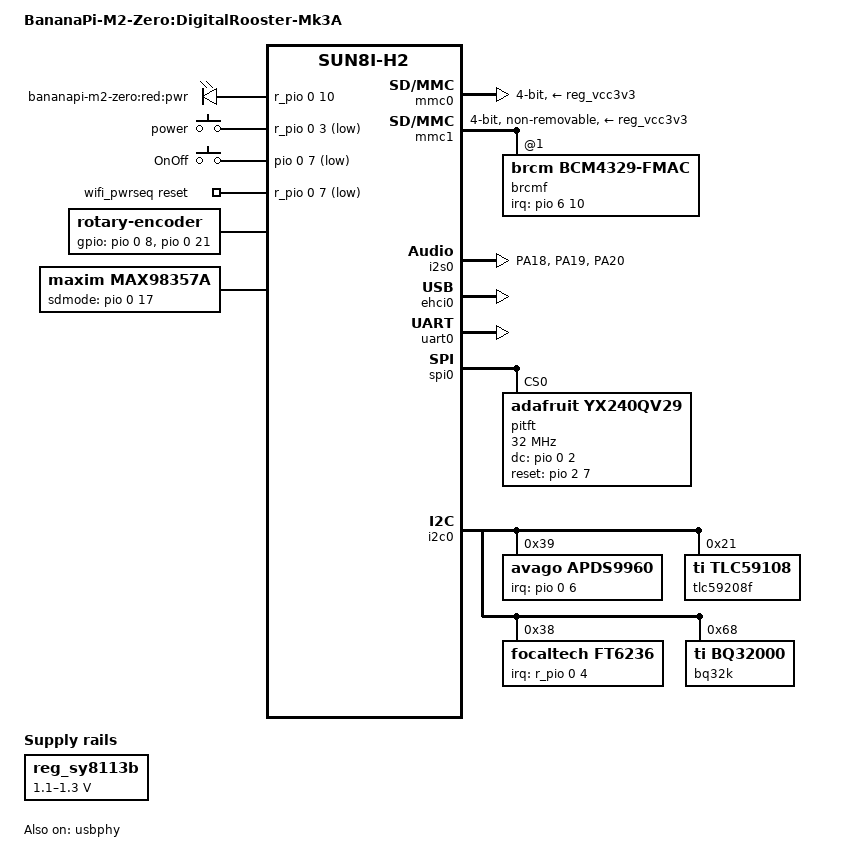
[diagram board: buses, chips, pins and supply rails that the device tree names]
/*
 * DigitalRooster on Banana Pi M2 Zero specific Device tree including
 *  - Rotary Enconder (volume)
 *  - 2.8" PiTFT Display (SPI Display Ilitek + I2C Touch Focaltech)
 *  - Adafruit Speakerbonnet (I2S Sound)
 *
 * Copyright (c) 2019 Thomas Ruschival <thomas@ruschival.de> based on
 * the original device tree sun8i-h2-plus-bananapi-m2-zero.dts
 * Copyright (C) 2017 Icenowy Zheng <icenowy@aosc.io>
 *
 * Based on sun8i-h3-bananapi-m2-plus.dts, which is:
 *   Copyright (C) 2016 Chen-Yu Tsai <wens@csie.org>
 *
 * This file is dual-licensed: you can use it either under the terms
 * of the GPL or the X11 license, at your option. Note that this dual
 * licensing only applies to this file, and not this project as a
 * whole.
 *
 *  a) This file is free software; you can redistribute it and/or
 *     modify it under the terms of the GNU General Public License as
 *     published by the Free Software Foundation; either version 2 of the
 *     License, or (at your option) any later version.
 *
 *     This file is distributed in the hope that it will be useful,
 *     but WITHOUT ANY WARRANTY; without even the implied warranty of
 *     MERCHANTABILITY or FITNESS FOR A PARTICULAR PURPOSE.  See the
 *     GNU General Public License for more details.
 *
 * Or, alternatively,
 *
 *  b) Permission is hereby granted, free of charge, to any person
 *     obtaining a copy of this software and associated documentation
 *     files (the "Software"), to deal in the Software without
 *     restriction, including without limitation the rights to use,
 *     copy, modify, merge, publish, distribute, sublicense, and/or
 *     sell copies of the Software, and to permit persons to whom the
 *     Software is furnished to do so, subject to the following
 *     conditions:
 *
 *     The above copyright notice and this permission notice shall be
 *     included in all copies or substantial portions of the Software.
 *
 *     THE SOFTWARE IS PROVIDED "AS IS", WITHOUT WARRANTY OF ANY KIND,
 *     EXPRESS OR IMPLIED, INCLUDING BUT NOT LIMITED TO THE WARRANTIES
 *     OF MERCHANTABILITY, FITNESS FOR A PARTICULAR PURPOSE AND
 *     NONINFRINGEMENT. IN NO EVENT SHALL THE AUTHORS OR COPYRIGHT
 *     HOLDERS BE LIABLE FOR ANY CLAIM, DAMAGES OR OTHER LIABILITY,
 *     WHETHER IN AN ACTION OF CONTRACT, TORT OR OTHERWISE, ARISING
 *     FROM, OUT OF OR IN CONNECTION WITH THE SOFTWARE OR THE USE OR
 *     OTHER DEALINGS IN THE SOFTWARE.
 */

/dts-v1/;
#include "sun8i-h3.dtsi"
#include "sunxi-common-regulators.dtsi"

#include <dt-bindings/gpio/gpio.h>
#include <dt-bindings/input/input.h>

/ {
	model = "BananaPi-M2-Zero:DigitalRooster-Mk3A";
	version= "2.0";
	compatible = "digitalrooster,3.0",
		     "sinovoip,bpi-m2-zero",
		     "allwinner,sun8i-h2-plus";

	aliases {
		serial0 = &uart0;
		serial1 = &uart1;
	};

	chosen {
		stdout-path = "serial0:115200n8";
	};

	leds {
		compatible = "gpio-leds";
		pinctrl-names = "default";

		pwr_led {
			label = "bananapi-m2-zero:red:pwr";
			gpios = <&r_pio 0 10 GPIO_ACTIVE_HIGH>; /* PL10 */
			default-state = "on";
		};
	};

	gpio_keys {
		compatible = "gpio-keys";
		pinctrl-names = "default";

		sw4 {
			label = "power";
			linux,code = <BTN_0>;
			gpios = <&r_pio 0 3 GPIO_ACTIVE_LOW>;
		};

		/* rotary push button event interface */
		OnOff {
			label = "OnOff";
			linux,code = <KEY_HOME>;
			/* PA7 Pin 29 OK */
			gpios = <&pio 0 7  GPIO_ACTIVE_LOW>;
		};

	};

	reg_sy8113b: gpio-regulator {
		compatible = "regulator-gpio";
		regulator-name = "vdd-cpux";
		regulator-type = "voltage";
		regulator-boot-on;
		regulator-always-on;
		regulator-min-microvolt = <1100000>;
		regulator-max-microvolt = <1300000>;
		regulator-ramp-delay = <50>; /* 4ms */

		gpios = <&r_pio 0 1 GPIO_ACTIVE_HIGH>; /* PL1 */
		enable-active-high;
		gpios-states = <0x1>;
		states = <1100000 0x0
			  1300000 0x1>;
	};

	wifi_pwrseq: wifi_pwrseq {
		compatible = "mmc-pwrseq-simple";
		pinctrl-names = "default";
		reset-gpios = <&r_pio 0 7 GPIO_ACTIVE_LOW>; /* PL7 */
	};

	/* Gray rotary encoder e.g. Grayhill 61C1 in relative mode */
	rotary: rotary@0 {
		compatible = "rotary-encoder";
		status = "okay";
		pinctrl-names = "default";
		pinctrl-0 = <&rotary_pins>;
		gpios = <&pio 0 8  GPIO_ACTIVE_HIGH>, /* PA8 */
			<&pio 0 21 GPIO_ACTIVE_HIGH>; /* PA21 */
		linux,axis = <0>;
		rotary-encoder,relative-axis;
		rotary-encoder,encoding = "gray";
		rotary-encoder,steps = <32>;
		rotary-encoder,steps-per-period = <1>;
	};

	/* MAX98357A Codec */
	max98357a: max98357a0 {
 		#sound-dai-cells = <0>;
 		compatible = "maxim,max98357a";
 		status = "okay";
		pinctrl-0 = <&shutdown_n>;
		sdmode-gpios = <&pio 0 17 GPIO_ACTIVE_HIGH>; /* PA17 SD_n */
		sdmode-delay = <5>; /* deassert shutdown after 5ms */
	};

	sound {
		compatible = "simple-audio-card";
		simple-audio-card,name = "digitalrooster-audio";
		simple-audio-card,format = "i2s";
		/* simple-audio-card,bitclock-master = <&dai>; */
		/* simple-audio-card,frame-master = <&dai_cpu>; */
		simple-audio-card,mclk-fs  = <256>;
		status = "okay";

		dai_cpu: simple-audio-card,cpu {
			sound-dai = <&i2s0>;
		};

		dai_codec: simple-audio-card,codec {
			sound-dai = <&max98357a>;
		};
	};
};

&mmc0 {
	pinctrl-names = "default";
	pinctrl-0 = <&mmc0_pins>;
	vmmc-supply = <&reg_vcc3v3>;
	bus-width = <4>;
	/*
	 * In different revisions the board have different card detect
	 * configuration.
	 */
	broken-cd;
	status = "okay";
};

&mmc1 {
	pinctrl-names = "default";
	pinctrl-0 = <&mmc1_pins>;
	vmmc-supply = <&reg_vcc3v3>;
	vqmmc-supply = <&reg_vcc3v3>;
	mmc-pwrseq = <&wifi_pwrseq>;
	bus-width = <4>;
	non-removable;
	status = "okay";

	brcmf: wifi@1 {
		reg = <1>;
		compatible = "brcm,bcm4329-fmac";
		interrupt-parent = <&pio>;
		interrupts = <6 10 IRQ_TYPE_LEVEL_LOW>; /* PG10 / EINT10 */
		interrupt-names = "host-wake";
	};
};

/* enable i2s controller */
&i2s0 {
	status = "okay";
	pinctrl-names = "default";
	pinctrl-0 = <&i2s0_pins>;
};

/* disable on-chip RTC */
&rtc {
	status = "disabled";
};

&ehci0 {
	status = "okay";
};

&uart0 {
	pinctrl-names = "default";
	pinctrl-0 = <&uart0_pa_pins>;
	status = "okay";
};

&usbphy {
	usb0_id_det-gpios = <&r_pio 0 6 GPIO_ACTIVE_HIGH>; /* PL6 */
	/* USB OTG VBUS is directly connected to 5V without any regulators */
	status = "okay";
};


&r_pio{
	/* Touch Controller Interrupt line */
	TouchInt {
		status = "ok";
		pins = "PL4";
		function = "gpio_in";
	};
};

&pio {
	gpio-line-names =
	"", "", "TFT_DC", "",                   /* PA0 - PA3 */
	"", "", "APDS_INT", "ROT_PB",           /* PA4 - PA7 */
	"ROT_B", "","","",                      /* PA8 - PA11 */
	"", "","","TFT_INT",                    /* PA12 - PA15 */
	"", "SD_n","I2S_LRCLK","I2S_BCLCK",     /* PA16 - PA19 */
	"I2S_DOUT", "ROT_A","","";              /* PA20 - PA23 */

	shutdown_n: shutdown_n {
		status = "ok";
		label = "shutdown_n";
		pins = "PA17";
		function = "gpio_out";
	};

	/* PA6 APDS 9960 interrupt line*/
	APDS_INT {
		status = "ok";
		pins = "PA6";
		function = "gpio_in"; /*TODO: Check function if IRQ exists */
	};

	/* PA7 (push button) of rotary encoder*/
	push_button {
		status = "ok";
		pins = "PA7";
		function = "gpio_in";
	};

	/* Rotary encoder pins A and B */
	rotary_pins: rotary_pins {
		pins = "PA8", "PA21";
		function = "gpio_in";
	};

	/* I2S interface for codec */
	i2s0_pins:  i2s0-pins {
		pins =
		"PA18",  /*I2S_LRCLK */
		"PA19",  /*I2S_BCLCK */
		"PA20";  /*I2S_DOUT  */
		/* "PA21" not used - we don't have audio input */
		function = "i2s0";
	};

	/* PiTFT GPIO pins */
        pitft_pins: pitft_pins {
		/* Touch IRQ Pin18 (PC4 has no IRQ) bridged to PL4 Pin36 */
		/* DC pin PA2, Pin22  */
		/* Reset line PC7 (Pin 26) */
		label = "pitft";
		pins  = "PC4", "PL4", "PC7" ,"PA2";
		function = "gpio_in", "gpio_in", "gpio_out", "gpio_out";
		allwinner,pull =  <
		2 /*PC4 pull-up */
		2 /*PL4 pull-up */
		0 /*PC7 none */
		0 /*PA2 none */ >;
        };
};

/* Display @ SPI0 */
&spi0 {
	status = "okay";

	/* TINY DRM on Adafruit 2.8" TFT */
        pitft: pitft@0{
		compatible ="adafruit,yx240qv29", "ilitek,ili9341";
		status = "okay";
		/* common for tinydrm and framebuffer */
                reg = <0>;
                spi-max-frequency = <32000000>;
	        rotation = <90>; /* Rotation for tinydrm driver */
		/* backlight = <&pwm_18_backlight>     /* backlight tinydrm driver */
                /* GPIO assignments for tinydrm driver */
                dc-gpios = <&pio 0 2 GPIO_ACTIVE_HIGH>;     /* PA2   */
                reset-gpios = <&pio 2 7  GPIO_ACTIVE_HIGH>; /* PC7, line 71 */
                /* Properties of Framebuffer driver */
		/* rotate = <270>; */
		/* fps = <25>; */
		/* bgr; */
		/* buswidth = <8>; */
		/* debug = <1>; */
		/* pinctrl-0 = <&pitft_pins>; */
        };
};

&i2c0 {
	status = "okay";

	/* APDS 9960 light, color, proximity sensor */
	apds9960: adps@39 {
		compatible = "avago,apds9960";
		reg = <0x39>;
		interrupt-parent = <&pio>;
		/* PA6 INT6 edge l->h triggered */
		interrupts = <0 6 IRQ_TYPE_EDGE_RISING>;
	};

	/* LED driver actually a TLC59208F but seems compatible */
	tlc59208f: tlc59208f@48 {
		compatible = "ti,tlc59108";
		reg = <0x21>; /* should be 0x42 */
		/* red */
		r@2 {
			label = "RGB:r";
			reg = <0x02>;
		};
		/* green */
		g@3 {
			label = "RGB:g";
			reg = <0x03>;
		};
		/* blue */
		b@4 {
			label = "RGB:b";
			reg = <0x04>;
		};
		/* amber */
		a@5 {
			label = "RGB:a";
			reg = <0x05>;
			/* linux,default-trigger = "activity"; */
		};
		/* backlight */
		bl@6{
			label = "bl";
			reg = <0x06>;
			/* linux,default-trigger = "backlight"; */
		};
	};

	/* I2C Touch controller */
	ft6236: ft6236@38 {
                compatible = "focaltech,ft6236";
                reg = <0x38>;
                interrupt-parent = <&r_pio>;
		/*
		 * use PA15 as IRQ - PC4 (Pin18) doesn't have IRQ capability
		 * --> Bridge Pin18 (PC4) to Pin36 (PL4) externally
		 */
                interrupts = <0 4 IRQ_TYPE_EDGE_FALLING>;
                touchscreen-size-x = <240>;
                touchscreen-size-y = <320>;
        };

	/* Real time clock */
	bq32k: rtc@68 {
		compatible = "ti,bq32000";
		reg = <0x68>;
		trickle-resistor-ohms = <1120>;
		/* trickle-diode-disable; */
	};

};
